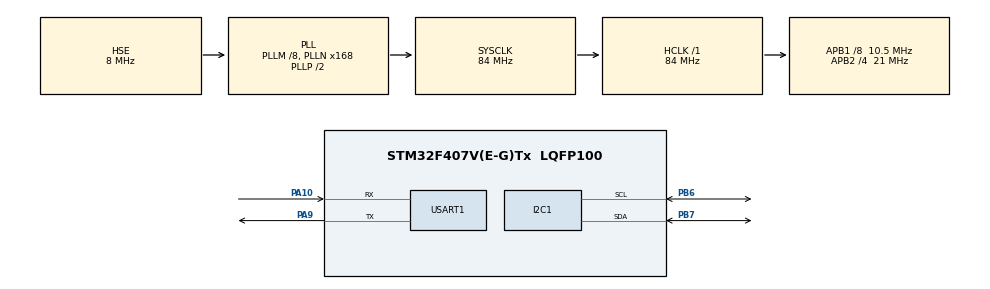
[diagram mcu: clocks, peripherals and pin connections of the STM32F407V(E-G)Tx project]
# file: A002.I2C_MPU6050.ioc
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I2C1.I2C_Mode=I2C_Fast
Mcu.Family=STM32F4
Mcu.Name=STM32F407V(E-G)Tx
Mcu.Package=LQFP100
NVIC.PriorityGroup=NVIC_PRIORITYGROUP_4
PA10.Mode=Asynchronous
PA10.Signal=USART1_RX
PA13.Mode=Serial_Wire
PA13.Signal=SYS_JTMS-SWDIO
PA14.Mode=Serial_Wire
PA14.Signal=SYS_JTCK-SWCLK
PA9.Mode=Asynchronous
PA9.Signal=USART1_TX
PB6.Mode=I2C
PB6.Signal=I2C1_SCL
PB7.Mode=I2C
PB7.Signal=I2C1_SDA
PH0-OSC_IN.Mode=HSE-External-Oscillator
PH0-OSC_IN.Signal=RCC_OSC_IN
PH1-OSC_OUT.Mode=HSE-External-Oscillator
PH1-OSC_OUT.Signal=RCC_OSC_OUT
ProjectManager.HeapSize=0x200
ProjectManager.StackSize=0x400
ProjectManager.TargetToolchain=MDK-ARM V5
RCC.48MHZClocksFreq_Value=42000000
RCC.AHBFreq_Value=84000000
RCC.APB1CLKDivider=RCC_HCLK_DIV8
RCC.APB1Freq_Value=10500000
RCC.APB1TimFreq_Value=21000000
RCC.APB2CLKDivider=RCC_HCLK_DIV4
RCC.APB2Freq_Value=21000000
RCC.APB2TimFreq_Value=42000000
RCC.CortexFreq_Value=84000000
RCC.HCLKFreq_Value=84000000
RCC.HSE_VALUE=8000000
RCC.HSI_VALUE=16000000
RCC.LSE_VALUE=32768
RCC.PLLM=8
RCC.PLLN=168
RCC.PLLSourceVirtual=RCC_PLLSOURCE_HSE
RCC.SYSCLKFreq_VALUE=84000000
RCC.SYSCLKSource=RCC_SYSCLKSOURCE_PLLCLK
RCC.VCOOutputFreq_Value=168000000
USART1.VirtualMode=VM_ASYNC
board=custom

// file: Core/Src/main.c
/* USER CODE BEGIN Header */
/**
  ******************************************************************************
  * @file           : main.c
  * @brief          : Main program body
  ******************************************************************************
  * @attention
  *
  * <h2><center>&copy; Copyright (c) 2023 STMicroelectronics.
  * All rights reserved.</center></h2>
  *
  * This software component is licensed by ST under BSD 3-Clause license,
  * the "License"; You may not use this file except in compliance with the
  * License. You may obtain a copy of the License at:
  *                        opensource.org/licenses/BSD-3-Clause
  *
  ******************************************************************************
  */
/* USER CODE END Header */
#include "main.h"
#include "i2c.h"
#include "usart.h"
#include "gpio.h"
#include "MPU6050.h"

void SystemClock_Config(void);

/* USER CODE BEGIN 0 */

unsigned char *mpl_key = (unsigned char*)"eMPL 5.1"; // 必须是固定字符串，不可更改，不然报 Not authorized
/* USER CODE END 0 */

int main(void)
{
  /* USER CODE BEGIN 1 */
   short Acel[3]={0};
   short Gyro[3]={0};
   float Temp=0.0;
   u8 t;
   long dataBuf[9];
   unsigned long timestamp;
   double yaw,pitch,roll;
  /* USER CODE END 1 */

  /* MCU Configuration--------------------------------------------------------*/

  /* Reset of all peripherals, Initializes the Flash interface and the Systick. */
  HAL_Init();

  /* Configure the system clock */
  SystemClock_Config();

  /* Initialize all configured peripherals */
  MX_GPIO_Init();
  MX_I2C1_Init();
  MX_USART1_UART_Init();
  /* USER CODE BEGIN 2 */
    /*
    // MPU6050普通读取，读取原始数据
    // mpu 初始化
    if(mpu_init()){
        printf("mpu init error.");
    }else{
        printf("mpu init ok.");
    }
     // 读取陀螺、加计、温度
    mpu_get_gyro(&Gyro[0], &Gyro[1], &Gyro[2]);
    mpu_get_acc(&Acel[0], &Acel[1], &Acel[2]);
    Temp = mpu_get_temperature();
    printf("%10d,%10d,%10d,%10d,%10d,%10d,%10f\n", Gyro[0], Gyro[1], Gyro[2], Acel[0], Acel[1], Acel[2], Temp);

    */

    // MPL初始化
    mpl_moudle_init();

  /* USER CODE END 2 */

  /* Infinite loop */
  while (1)
  {

    /* USER CODE BEGIN 3 */

    get_tick_count(&timestamp);
    mpu_module_sampling(); // 从MPU的FIFO读取数据
    inv_get_sensor_type_euler(dataBuf, &t, (inv_time_t*)timestamp);
    if(t)
    {
        pitch = 1.0f*dataBuf[0]/65536.f;
        roll  = 1.0f*dataBuf[1]/65536.f;
        yaw 	= 1.0f*dataBuf[2]/65536.f;
        printf("%ld.\tyaw:%10.6lf    pitch:%10.6lf    roll:%10.6lf\r\n", timestamp, yaw, pitch, roll);
    }

    HAL_Delay(500);

  }
  /* USER CODE END 3 */
}

void SystemClock_Config(void)
{
  RCC_OscInitTypeDef RCC_OscInitStruct = {0};
  RCC_ClkInitTypeDef RCC_ClkInitStruct = {0};

  /** Configure the main internal regulator output voltage
  */
  __HAL_RCC_PWR_CLK_ENABLE();
  __HAL_PWR_VOLTAGESCALING_CONFIG(PWR_REGULATOR_VOLTAGE_SCALE1);
  /** Initializes the RCC Oscillators according to the specified parameters
  * in the RCC_OscInitTypeDef structure.
  */
  RCC_OscInitStruct.OscillatorType = RCC_OSCILLATORTYPE_HSE;
  RCC_OscInitStruct.HSEState = RCC_HSE_ON;
  RCC_OscInitStruct.PLL.PLLState = RCC_PLL_ON;
  RCC_OscInitStruct.PLL.PLLSource = RCC_PLLSOURCE_HSE;
  RCC_OscInitStruct.PLL.PLLM = 8;
  RCC_OscInitStruct.PLL.PLLN = 168;
  RCC_OscInitStruct.PLL.PLLP = RCC_PLLP_DIV2;
  RCC_OscInitStruct.PLL.PLLQ = 4;
  if (HAL_RCC_OscConfig(&RCC_OscInitStruct) != HAL_OK)
  {
    Error_Handler();
  }
  /** Initializes the CPU, AHB and APB buses clocks
  */
  RCC_ClkInitStruct.ClockType = RCC_CLOCKTYPE_HCLK|RCC_CLOCKTYPE_SYSCLK
                              |RCC_CLOCKTYPE_PCLK1|RCC_CLOCKTYPE_PCLK2;
  RCC_ClkInitStruct.SYSCLKSource = RCC_SYSCLKSOURCE_PLLCLK;
  RCC_ClkInitStruct.AHBCLKDivider = RCC_SYSCLK_DIV1;
  RCC_ClkInitStruct.APB1CLKDivider = RCC_HCLK_DIV8;
  RCC_ClkInitStruct.APB2CLKDivider = RCC_HCLK_DIV4;

  if (HAL_RCC_ClockConfig(&RCC_ClkInitStruct, FLASH_LATENCY_2) != HAL_OK)
  {
    Error_Handler();
  }
}

void Error_Handler(void)
{
  __disable_irq();
  while (1)
  {
  }
}

/************************ (C) COPYRIGHT STMicroelectronics *****END OF FILE****/
